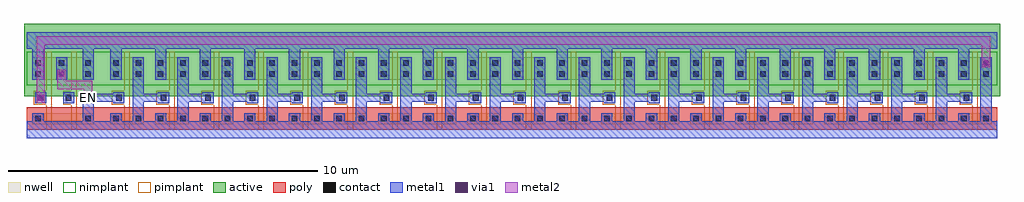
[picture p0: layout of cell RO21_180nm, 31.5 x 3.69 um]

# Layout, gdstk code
import gdstk
lib = gdstk.Library(unit=1e-6, precision=1e-09)
def R(c, l, rs):  # rectangles x0, y0, x1, y1
    for r in rs: c.add(gdstk.rectangle(r[:2], r[2:], *l))
def A(c, l, x, y, w, h, nx, ny, dx, dy):  # array of equal rectangles
    R(c, l, [(x+i*dx, y+j*dy, x+i*dx+w, y+j*dy+h) for i in range(nx) for j in range(ny)])
active = (1, 0)
nwell = (2, 0)
poly = (3, 0)
nimplant = (4, 0)
pimplant = (5, 0)
contact = (6, 0)
metal1 = (7, 0)
via1 = (8, 0)
metal2 = (9, 0)

ro21_180nm = lib.new_cell('RO21_180nm')
A(ro21_180nm, active, 2.43, 1.35, 1.62, 2.34, 20, 1, 1.44, 0)
R(ro21_180nm, active, [(-0.09,1.35,2.61,3.69)])
A(ro21_180nm, nwell, 2.7, 0.45, 1.08, 0.36, 20, 1, 1.44, 0)
A(ro21_180nm, nwell, 2.7, 1.89, 1.08, 0.72, 20, 1, 1.44, 0)
R(ro21_180nm, nwell, [(0.18,0.45,2.16,0.81), (0.18,1.89,2.16,2.61)])
A(ro21_180nm, poly, 2.52, 0.27, 1.44, 0.72, 20, 1, 1.44, 0)
R(ro21_180nm, poly, [(0,0.27,2.52,0.99)])
A(ro21_180nm, nimplant, 2.52, 1.71, 1.44, 1.08, 20, 1, 1.44, 0)
R(ro21_180nm, nimplant, [(0,1.71,2.52,2.79)])
A(ro21_180nm, pimplant, 3.15, 0.27, 0.18, 2.52, 20, 1, 1.44, 0)
A(ro21_180nm, pimplant, 2.745, 1.08, 0.45, 0.45, 20, 1, 1.44, 0)
R(ro21_180nm, pimplant, [(0.63,0.27,0.81,2.79), (1.44,0.27,1.62,2.79), (0.225,1.08,0.675,1.53), (1.17,1.08,1.62,1.53)])
A(ro21_180nm, contact, 2.79, 0.54, 0.18, 0.18, 40, 2, 0.72, 1.44)
A(ro21_180nm, contact, 2.88, 1.215, 0.18, 0.18, 20, 1, 1.44, 0)
A(ro21_180nm, contact, 2.79, 2.34, 0.18, 0.18, 40, 1, 0.72, 0)
R(ro21_180nm, contact, [(0.27,0.54,0.45,0.72), (1.89,0.54,2.07,0.72), (0.36,1.215,0.54,1.395), (1.26,1.215,1.44,1.395), (0.27,1.98,0.45,2.16), (1.035,1.98,1.215,2.16), (1.89,1.98,2.07,2.16), (0.27,2.34,0.45,2.52), (1.035,2.34,1.215,2.52), (1.89,2.34,2.07,2.52)])
A(ro21_180nm, metal1, 2.52, 0, 1.44, 0.54, 20, 2, 1.44, 2.88)
A(ro21_180nm, metal1, 2.7, 0, 0.36, 0.81, 20, 1, 1.44, 0)
A(ro21_180nm, metal1, 3.42, 0.45, 0.36, 2.16, 20, 1, 1.44, 0)
A(ro21_180nm, metal1, 2.79, 1.125, 0.36, 0.36, 20, 1, 1.44, 0)
A(ro21_180nm, metal1, 3.78, 1.17, 0.45, 0.27, 19, 1, 1.44, 0)
A(ro21_180nm, metal1, 2.7, 1.89, 0.36, 1.53, 20, 1, 1.44, 0)
R(ro21_180nm, metal1, [(0,0,2.52,0.54), (0.18,0,0.54,0.81), (1.8,0.45,2.16,1.44), (0.27,1.125,0.63,1.485), (1.17,1.125,1.53,1.485), (2.16,1.17,2.79,1.44), (0.18,1.89,0.54,3.42), (0.945,1.89,1.305,2.61), (1.8,1.89,2.16,3.42), (0,2.88,2.52,3.42)])
R(ro21_180nm, via1, [(1.89,1.17,2.07,1.35), (0.36,1.215,0.54,1.395), (1.035,1.98,1.215,2.16), (30.87,2.34,31.05,2.52)])
R(ro21_180nm, metal2, [(0.315,1.125,0.585,3.285), (1.845,1.125,2.115,1.845), (0.99,1.575,2.115,1.845), (0.99,1.575,1.26,2.205), (30.825,2.295,31.095,3.285), (0.315,3.015,31.095,3.285)])
ro21_180nm.add(gdstk.Label('EN', (1.98,1.305), layer=7, texttype=0))

lib.write_gds('RO21_180nm.gds')
